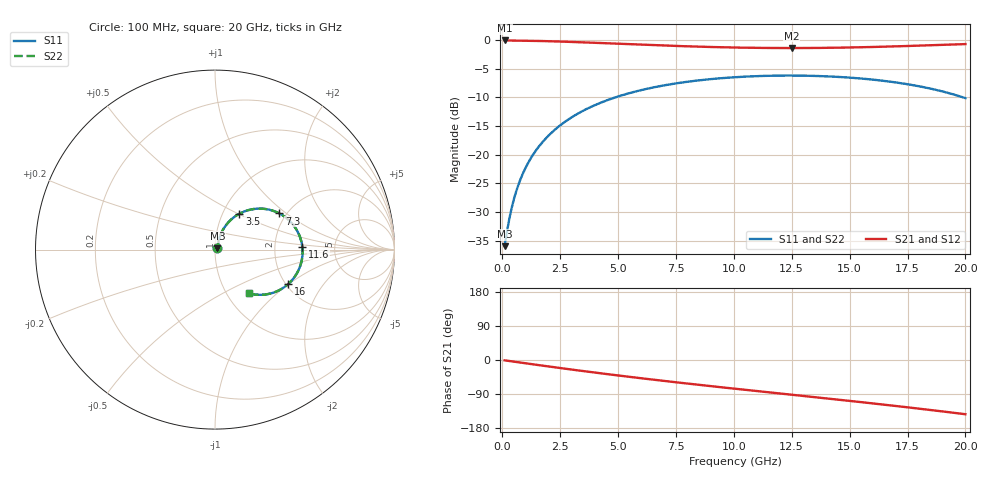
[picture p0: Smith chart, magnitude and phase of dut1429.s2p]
! Touchstone file exported from HFSS 2026.1.0
!  File:  C:/ffzhzh/LocalFiles/Ansys_Project_Files/temp_train_TSV_RDL_1429_1783355460_50076.aedt
!  Generated:  12:40:25 AM Jul  7, 2026
!  Design:  TSV_RDL
!  Project:  temp_train_TSV_RDL_1429_1783355460_50076
! Variables:
!  h_bsmrdl = 5.85um
!  h_ox = 20um
!  h_rdl = 5um
!  h_sub = 53.01um
!  h_tmrdl = 5.42um
!  h_tsv = 53.01um
!  h_via = 3um
!  l_bsmrdl = 490.81um
!  l_sub = 2604.59um
!  l_tmrdl = 146.8um
!  m_sub = 200um
!  pitch = 43.28um
!  r_tsv = 2.39um
!  s_tmrdl = 10um
!  w_bsmrdl = 20.08um
!  w_sub = 500um
!  w_tmrdl = 28.24um
!  x_tsv_center1 = 160.92um
!  x_tsv_center2 = 671.81um
!  x_tsv_center3 = 846.85um
!  x_tsv_center4 = 1357.74um
!  x_tsv_center5 = 1532.78um
!  x_tsv_center6 = 2043.67um
# GHz S MA R 50.000000
! Terminal data exported
! Port[1] = TM_RDL1_1_T1
! Port[2] = TM_RDL5_1_T1
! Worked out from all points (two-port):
!   200 points, 100 MHz to 20 GHz, reference 50 ohm
!   highest |S21| = -0.12 dB at 100 MHz (marker M1); lowest = -1.4 dB at 12.5 GHz (marker M2)
!   |S21| within 3 dB of the highest: start of sweep to end of sweep
!   lowest |S11| = -35.9 dB at 100 MHz (marker M3), VSWR 1.03, Z = 51.4 + j0.816 ohm
!   |S11| at or under -10 dB: start of sweep to 4.899 GHz; 19.89 GHz to end of sweep
!   |S22| runs from -35.9 to -6.2 dB; largest |S21 - S12| = 5.3e-14
!   S11 on the Smith chart (normalised r, x): 100 MHz: 1.03, +0.02; 3.5 GHz: 1.20, +0.51; 7.3 GHz: 1.84, +0.89; 11.6 GHz: 2.89, +0.13; 16 GHz: 2.05, -0.99; 20 GHz: 1.27, -0.69
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0.1  0.01602 29.7  0.9862 -0.9  0.9862 -0.9  0.01602 29.7
! Gamma 0 0 0 0
! Port Impedance 50 0 50 0
0.3  0.02752 55.3  0.9851 -2.6  0.9851 -2.6  0.02752 55.3
0.5  0.04099 64.1  0.9843 -4.3  0.9843 -4.3  0.04099 64.1
0.8  0.06223 68.7  0.9827 -6.9  0.9827 -6.9  0.06223 68.7
1.2  0.09092 69.4  0.9799 -10.3  0.9799 -10.3  0.09092 69.4
1.7  0.1262 67.6  0.975 -14.6  0.975 -14.6  0.1262 67.6
2.2  0.1604 64.7  0.9689 -18.7  0.9689 -18.7  0.1604 64.7
2.8  0.1994 60.7  0.9604 -23.7  0.9604 -23.7  0.1994 60.7
3.5  0.2418 55.8  0.9493 -29.3  0.9493 -29.3  0.2418 55.8
5  0.3211 45.1  0.9237 -40.8  0.9237 -40.8  0.3211 45.1
6.8  0.3948 32.7  0.894 -53.9  0.894 -53.9  0.3948 32.7
7.3  0.4112 29.4  0.8865 -57.4  0.8865 -57.4  0.4112 29.4
8.7  0.4484 20.2  0.8685 -66.9  0.8685 -66.9  0.4484 20.2
10.1  0.4731 11.3  0.8556 -76.2  0.8556 -76.2  0.4731 11.3
11.6  0.4865 2.0  0.8481 -85.9  0.8481 -85.9  0.4865 2.0
12.5  0.4883 -3.5  0.847 -91.6  0.847 -91.6  0.4883 -3.5
13.4  0.4854 -9.1  0.8483 -97.4  0.8483 -97.4  0.4854 -9.1
14.7  0.4729 -17.2  0.8545 -105.9  0.8545 -105.9  0.4728 -17.2
16  0.4501 -25.4  0.8653 -114.5  0.8653 -114.5  0.4501 -25.4
16.7  0.4334 -29.9  0.8728 -119.3  0.8728 -119.3  0.4334 -29.9
18.4  0.3795 -41.1  0.8945 -131.2  0.8945 -131.2  0.3795 -41.1
20  0.3108 -51.9  0.9169 -143.1  0.9169 -143.1  0.3107 -51.9
